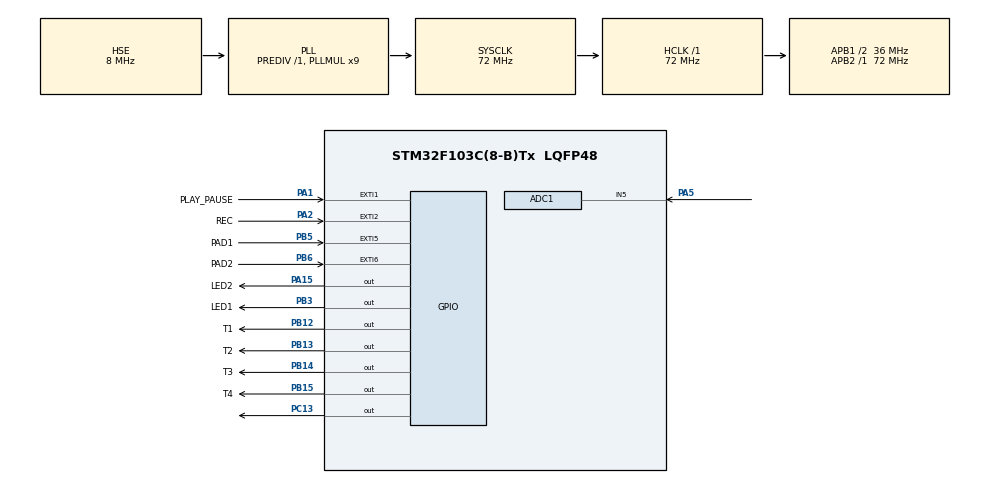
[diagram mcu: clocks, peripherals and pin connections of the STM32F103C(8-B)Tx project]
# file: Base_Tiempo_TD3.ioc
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ADC1.Channel-0\#ChannelRegularConversion=ADC_CHANNEL_5
ADC1.NbrOfConversionFlag=1
ADC1.Rank-0\#ChannelRegularConversion=1
ADC1.SamplingTime-0\#ChannelRegularConversion=ADC_SAMPLETIME_1CYCLE_5
ADC1.master=1
Mcu.Family=STM32F1
Mcu.Name=STM32F103C(8-B)Tx
Mcu.Package=LQFP48
NVIC.EXTI1_IRQn=true\:0\:0\:false\:false\:true\:true\:true
NVIC.EXTI2_IRQn=true\:0\:0\:false\:false\:true\:true\:true
NVIC.EXTI9_5_IRQn=true\:0\:0\:false\:false\:true\:true\:true
NVIC.PriorityGroup=NVIC_PRIORITYGROUP_4
NVIC.TIM2_IRQn=true\:0\:0\:false\:false\:true\:true\:true
PA1.GPIO_Label=PLAY_PAUSE
PA1.GPIO_ModeDefaultEXTI=GPIO_MODE_IT_FALLING
PA1.GPIO_PuPd=GPIO_PULLUP
PA1.Signal=GPXTI1
PA13.Mode=Serial_Wire
PA13.Signal=SYS_JTMS-SWDIO
PA14.Mode=Serial_Wire
PA14.Signal=SYS_JTCK-SWCLK
PA15.GPIO_Label=LED2
PA15.GPIO_ModeDefaultOutputPP=GPIO_MODE_OUTPUT_OD
PA15.GPIO_Speed=GPIO_SPEED_FREQ_HIGH
PA15.PinState=GPIO_PIN_SET
PA15.Signal=GPIO_Output
PA2.GPIO_Label=REC 
PA2.GPIO_ModeDefaultEXTI=GPIO_MODE_IT_FALLING
PA2.GPIO_PuPd=GPIO_PULLUP
PA2.Signal=GPXTI2
PA5.Signal=ADCx_IN5
PB12.GPIO_Label=T1
PB12.GPIO_ModeDefaultOutputPP=GPIO_MODE_OUTPUT_OD
PB12.GPIO_Speed=GPIO_SPEED_FREQ_HIGH
PB12.PinState=GPIO_PIN_SET
PB12.Signal=GPIO_Output
PB13.GPIO_Label=T2
PB13.GPIO_ModeDefaultOutputPP=GPIO_MODE_OUTPUT_OD
PB13.GPIO_Speed=GPIO_SPEED_FREQ_HIGH
PB13.PinState=GPIO_PIN_SET
PB13.Signal=GPIO_Output
PB14.GPIO_Label=T3
PB14.GPIO_ModeDefaultOutputPP=GPIO_MODE_OUTPUT_OD
PB14.GPIO_Speed=GPIO_SPEED_FREQ_HIGH
PB14.PinState=GPIO_PIN_SET
PB14.Signal=GPIO_Output
PB15.GPIO_Label=T4
PB15.GPIO_ModeDefaultOutputPP=GPIO_MODE_OUTPUT_OD
PB15.GPIO_Speed=GPIO_SPEED_FREQ_HIGH
PB15.PinState=GPIO_PIN_SET
PB15.Signal=GPIO_Output
PB3.GPIO_Label=LED1
PB3.GPIO_ModeDefaultOutputPP=GPIO_MODE_OUTPUT_OD
PB3.GPIO_PuPd=GPIO_NOPULL
PB3.GPIO_Speed=GPIO_SPEED_FREQ_HIGH
PB3.PinState=GPIO_PIN_SET
PB3.Signal=GPIO_Output
PB5.GPIO_Label=PAD1
PB5.GPIO_ModeDefaultEXTI=GPIO_MODE_IT_FALLING
PB5.GPIO_PuPd=GPIO_PULLUP
PB5.Signal=GPXTI5
PB6.GPIO_Label=PAD2
PB6.GPIO_ModeDefaultEXTI=GPIO_MODE_IT_FALLING
PB6.GPIO_PuPd=GPIO_PULLUP
PB6.Signal=GPXTI6
PC13-TAMPER-RTC.Signal=GPIO_Output
PD0-OSC_IN.Mode=HSE-External-Oscillator
PD0-OSC_IN.Signal=RCC_OSC_IN
PD1-OSC_OUT.Mode=HSE-External-Oscillator
PD1-OSC_OUT.Signal=RCC_OSC_OUT
ProjectManager.HeapSize=0x200
ProjectManager.StackSize=0x400
ProjectManager.TargetToolchain=STM32CubeIDE
RCC.ADCPresc=RCC_ADCPCLK2_DIV6
RCC.AHBFreq_Value=72000000
RCC.APB1CLKDivider=RCC_HCLK_DIV2
RCC.APB1Freq_Value=36000000
RCC.APB1TimFreq_Value=72000000
RCC.APB2Freq_Value=72000000
RCC.APB2TimFreq_Value=72000000
RCC.HCLKFreq_Value=72000000
RCC.PLLMUL=RCC_PLL_MUL9
RCC.PLLSourceVirtual=RCC_PLLSOURCE_HSE
RCC.SYSCLKFreq_VALUE=72000000
RCC.SYSCLKSource=RCC_SYSCLKSOURCE_PLLCLK
RCC.USBFreq_Value=72000000
SH.ADCx_IN5.0=ADC1_IN5,IN5
TIM2.Period=19
TIM2.Prescaler=3599
VP_TIM2_VS_ClockSourceINT.Mode=Internal
board=custom

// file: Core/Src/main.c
/* USER CODE BEGIN Header */
/**
  ******************************************************************************
  * @file           : main.c
  * @brief          : Main program body
  ******************************************************************************
  * @attention
  *
  * <h2><center>&copy; Copyright (c) 2020 STMicroelectronics.
  * All rights reserved.</center></h2>
  *
  * This software component is licensed by ST under BSD 3-Clause license,
  * the "License"; You may not use this file except in compliance with the
  * License. You may obtain a copy of the License at:
  *                        opensource.org/licenses/BSD-3-Clause
  *
  ******************************************************************************
  */
/* USER CODE END Header */

#include "main.h"
#include "adc.h"
#include "tim.h"
#include "gpio.h"

/* USER CODE BEGIN Includes */
#include "metronomo.h"
/* USER CODE END Includes */

/* USER CODE BEGIN PTD */
typedef enum {
	PAUSA=1,
	PLAY,
	REC,
} t_sec;

typedef enum{
	PULSO_NULO,
	PULSO_CORTO,
	PULSO_LARGO,

} t_pulso;
/* USER CODE END PTD */

void SystemClock_Config(void);
/* USER CODE BEGIN PFP */
void Placa_Corriendo(void);
t_pulso  FUNCION_BOTON(void);
void PLAY_PAUSE_REC(void);
/* USER CODE END PFP */

/* USER CODE BEGIN 0 */

int ms2=0;				//Variable para alcanzar con el timer la variable paso
int POTE=0;				//Valor del ADC asociado al cambio de tempo del metrónomo
int ON=500;				//Variable de control,para ver que la placa está funcionando
int secuencia1[256];	//256 elementos para grabar 15 segundos de secuencia
int secuencia2[256];
int semi=0;
int paso=59;		//Corresponde a los milisegundos que hay entre dos semicorcheas con
					// una velocidad de 256 negras por minuto
int flagseq=0;		//Flag para avisar que el timer contó 1ms

int b1=0;			// b1,b2,PLAY,REC flags para avisar que se presionaron
int b2=0;			//los botones que definen la secuencia
int flag_play=0;
int flag_rec=0;

t_pulso BOTON_REC=0;		//Va a borrar la secuencia?
int ESTADO_BOTON=0;		//Variable que avisa que el boton se mantuvo presionado o no
int FLAG_TIME_OUT=0;	//Avisa que se recorto la secuencia
int TIME_OUT=256;		//Valor del vector a recorrer, si graba menos TIME_OUT cambia
int flagb=0;			//Flag para la función de REC_corto o REC_largo

/* USER CODE END 0 */

int main(void)
{

  /* MCU Configuration--------------------------------------------------------*/

  /* Reset of all peripherals, Initializes the Flash interface and the Systick. */
  HAL_Init();

  /* USER CODE BEGIN Init */
  for(uint16_t i=0; i<256;i++)		//inicialización de vectores de secuencia
  {
	  secuencia1[i]=0;
	  secuencia2[i]=0;
  }
  /* USER CODE END Init */

  /* Configure the system clock */
  SystemClock_Config();

  /* Initialize all configured peripherals */
  MX_GPIO_Init();
  MX_TIM2_Init();
  MX_ADC1_Init();
  /* USER CODE BEGIN 2 */
  HAL_TIM_Base_Start_IT(&htim2);

  //SysTick_Handler(void)
  /* USER CODE END 2 */

  /* Infinite loop */
  /* USER CODE BEGIN WHILE */
  while (1)
  {
	  Placa_Corriendo();

//POTE metronomo, define tempo
	  HAL_ADC_Start(&hadc1);	//CONVERSION
	  POTE=HAL_ADC_GetValue(&hadc1);//LEE LA CONVERSION
	  POTE=(POTE*100)/447+225;
	  if(flagseq==1){
	  flagseq=0;
	  contadorms();	//actualiza el tiempo dentro del metrónomo (1ms)
	  }
	  Metronomo(POTE);

//Secuenciador

	  BOTON_REC=FUNCION_BOTON();

	  PLAY_PAUSE_REC();

    /* USER CODE END WHILE */

  }
}

void SystemClock_Config(void)
{
  RCC_OscInitTypeDef RCC_OscInitStruct = {0};
  RCC_ClkInitTypeDef RCC_ClkInitStruct = {0};
  RCC_PeriphCLKInitTypeDef PeriphClkInit = {0};

  /** Initializes the CPU, AHB and APB busses clocks
  */
  RCC_OscInitStruct.OscillatorType = RCC_OSCILLATORTYPE_HSE;
  RCC_OscInitStruct.HSEState = RCC_HSE_ON;
  RCC_OscInitStruct.HSEPredivValue = RCC_HSE_PREDIV_DIV1;
  RCC_OscInitStruct.HSIState = RCC_HSI_ON;
  RCC_OscInitStruct.PLL.PLLState = RCC_PLL_ON;
  RCC_OscInitStruct.PLL.PLLSource = RCC_PLLSOURCE_HSE;
  RCC_OscInitStruct.PLL.PLLMUL = RCC_PLL_MUL9;
  if (HAL_RCC_OscConfig(&RCC_OscInitStruct) != HAL_OK)
  {
    Error_Handler();
  }
  /** Initializes the CPU, AHB and APB busses clocks
  */
  RCC_ClkInitStruct.ClockType = RCC_CLOCKTYPE_HCLK|RCC_CLOCKTYPE_SYSCLK
                              |RCC_CLOCKTYPE_PCLK1|RCC_CLOCKTYPE_PCLK2;
  RCC_ClkInitStruct.SYSCLKSource = RCC_SYSCLKSOURCE_PLLCLK;
  RCC_ClkInitStruct.AHBCLKDivider = RCC_SYSCLK_DIV1;
  RCC_ClkInitStruct.APB1CLKDivider = RCC_HCLK_DIV2;
  RCC_ClkInitStruct.APB2CLKDivider = RCC_HCLK_DIV1;

  if (HAL_RCC_ClockConfig(&RCC_ClkInitStruct, FLASH_LATENCY_2) != HAL_OK)
  {
    Error_Handler();
  }
  PeriphClkInit.PeriphClockSelection = RCC_PERIPHCLK_ADC;
  PeriphClkInit.AdcClockSelection = RCC_ADCPCLK2_DIV6;
  if (HAL_RCCEx_PeriphCLKConfig(&PeriphClkInit) != HAL_OK)
  {
    Error_Handler();
  }
}

/* USER CODE BEGIN 4 */

void Placa_Corriendo(void){
//Uso el sistyck para que prenda y apague el led asociado al PC13 así sé que
// el programa está corriendo.

	  if(ON==0)
	  {
		  HAL_GPIO_TogglePin(GPIOC, GPIO_PIN_13);
		  ON=500;
	  }
}

void HAL_TIM_PeriodElapsedCallback(TIM_HandleTypeDef *htim){
	if (htim->Instance==TIM2){
		//está preguntando si el que termino de contar es el timer 2 :)

		flagseq=1;
		flagb=1;
	}

	}

void HAL_GPIO_EXTI_Callback(uint16_t GPIO_Pin)
{
  /* Prevent unused argument(s) compilation warning */
//Levanto flags según el botón que toque

 	if(GPIO_Pin==GPIO_PIN_5)
	{
		b1=1;
	}
	if(GPIO_Pin==GPIO_PIN_6)
	{
		b2=1;
	}
	if(GPIO_Pin==PLAY_PAUSE_Pin)
		{
			flag_play=1;
		}
	if(GPIO_Pin==REC_Pin)
		{
			flag_rec=1;

		}
  /* NOTE: This function Should not be modified, when the callback is needed,
           the HAL_GPIO_EXTI_Callback could be implemented in the user file
   */
}

void PLAY_PAUSE_REC(void){
static t_sec PPR=PAUSA;	//Variable de maquina de estados.

	switch(PPR){
	case 1: //NADA - PAUSE
		// pregunta si tocaste REC
		if(BOTON_REC==PULSO_CORTO){
			PPR=REC;
		}
		// Pulsacion larga?
		if(BOTON_REC==PULSO_LARGO){
					PPR=PAUSA;
		for(uint16_t i=0; i<256;i++)		//inicialización de vectores de secuencia
					  {
						  secuencia1[i]=0;
						  secuencia2[i]=0;
					  }
			FLAG_TIME_OUT=0;
			TIME_OUT=256;
			semi=0;
				}
		if(flag_play==1){	//Toco una vez, empiezo a reproducir la secuencia
			PPR=PLAY;
			flag_play=0;
			semi=0;
		}
		break;

	case 2: //PLAY

		//Reproducción de secuencia

		if(flagseq==1){	//Contador del timer, se incrementa cada 1ms
			  flagseq=0;
			  ms2++; //incrementos de milisegundos para la secuencia

		  }

		if(ms2==paso){
			  semi++;		//Avance dentro del vector con la secuencia, definido en 60ms
			  ms2=0;
		  }

		if(semi==TIME_OUT){
			  semi=0;		//Se reinicia el vector
		  }

		 HAL_GPIO_WritePin(GPIOA, GPIO_PIN_15, secuencia1[semi]);
		 HAL_GPIO_WritePin(GPIOB, GPIO_PIN_3, secuencia2[semi]);

		if(BOTON_REC==1){
			PPR=REC;
			semi=0;
		}
		// Pulsacion larga?
		if(BOTON_REC==PULSO_LARGO){
						PPR=PAUSA;
		for(uint16_t i=0; i<256;i++)		//inicialización de vectores de secuencia
						  {
							  secuencia1[i]=0;
							  secuencia2[i]=0;
						  }
		FLAG_TIME_OUT=0;
		TIME_OUT=256;
		semi=0;
					}
		if(flag_play==1){		//PAUSA
			PPR=PAUSA;
			flag_play=0;
			semi=0;
		}

			break;

	case 3: //REC

		//Generación de secuencia

		  if(flagseq==1){	//Contador del timer, se incrementa cada 1ms
			  flagseq=0;
			  ms2++; //incrementos de milisegundos para la secuencia

		  }

		  if(ms2==paso){
			  semi++;		//Avance dentro del vector con la secuencia, definido en 60ms
			  ms2=0;
		  }

		  if(semi==TIME_OUT){
			  semi=0;		//Se reinicia el vector
		  }

		  if(b1==1){
			  b1=0;
			  secuencia1[semi]=1;
		  }
		  if(b2==1){
			  b2=0;
			  secuencia2[semi]=1;
		  }

		  HAL_GPIO_WritePin(GPIOA, GPIO_PIN_15, secuencia1[semi]);
		  HAL_GPIO_WritePin(GPIOB, GPIO_PIN_3, secuencia2[semi]);

		  if(BOTON_REC==PULSO_CORTO){
					PPR=PAUSA;
					FLAG_TIME_OUT=1;	//Se acotó la secuencia
					TIME_OUT=semi;
					semi=0;

				}
		  // Pulsacion larga?
		  if(BOTON_REC==PULSO_LARGO){
							PPR=PAUSA;

		  for(uint16_t i=0; i<256;i++)		//inicialización de vectores de secuencia
								  {
									  secuencia1[i]=0;
									  secuencia2[i]=0;
								  }
			FLAG_TIME_OUT=0;
			TIME_OUT=256;
			semi=0;
							}

			break;

	}
}

t_pulso FUNCION_BOTON(void){ //Discrimina entre pulsar y mantener REC (REC_corto y REC_largo)
t_pulso RETORNO=PULSO_NULO;

static int ms_boton=0;

	 switch(ESTADO_BOTON){

		  	 case 0:
		  	 if(flag_rec==1){
		  		 ESTADO_BOTON=1;
		  		 flag_rec=0;
		  		 ms_boton=0;
		  	 }
		  	 break;

		  	 case 1:	//anti rebote
				  	if(flagb==1){
				  		flagb=0;
				  		ms_boton++;
				  	}
			if(ms_boton>29){
				ESTADO_BOTON=2;
			}
			break;

		  	case 2:
			  	if(flagb==1){
			  		flagb=0;
			  		ms_boton++;
			  	}

		  	if(HAL_GPIO_ReadPin(REC_GPIO_Port, REC_Pin)!=0){		//boton sin presionar
		  		ESTADO_BOTON=0;
		  		RETORNO=PULSO_CORTO;
		  	}
		  	if(ms_boton>=1500){		//se mantuvo presionado siempre, paso el primer if
		  	ESTADO_BOTON=0;
		  	RETORNO=PULSO_LARGO;
		  	}
		  	break;

		  	 }
	 	 	flag_rec=0;
		  	return(RETORNO);

}

/* USER CODE END 4 */

void Error_Handler(void)
{
}

/************************ (C) COPYRIGHT STMicroelectronics *****END OF FILE****/
